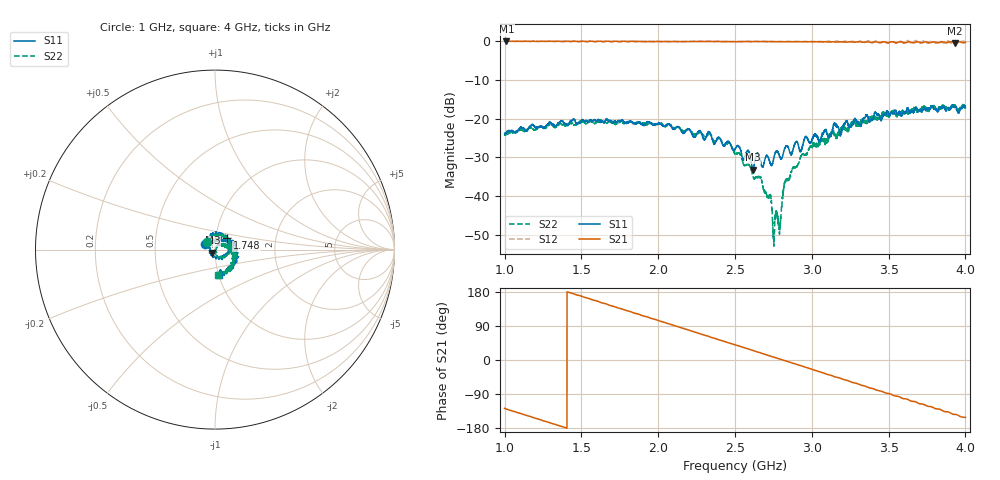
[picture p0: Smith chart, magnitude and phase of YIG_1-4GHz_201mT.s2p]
#  HZ  S  RI  R  50.0
! Rohde & Schwarz ZVL13 2Ports - Version 3.31 - 1303.6509k13 SN: 101088
! Date: 2023-03-06 14:46:26
! Data & Calibration Information:
! Trc4:S11(TOSM) Trc2:S21(TOSM) Trc3:S12(TOSM) Trc5:S22(TOSM)
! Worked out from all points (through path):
!   4000 points, 1 GHz to 4 GHz, reference 50 ohm
!   highest |S21| = -0.04 dB at 1.012 GHz (marker M1); lowest = -0.5 dB at 3.93 GHz (marker M2)
!   group delay of S21, straight-line fit = 357 ps
!   lowest |S11| = -33.1 dB at 2.616 GHz (marker M3), VSWR 1.05, Z = 48.5 - j1.61 ohm
!   |S11| at or under -10 dB: start of sweep to end of sweep
!   |S22| runs from -52.8 to -16.4 dB; largest |S21 - S12| = 0.072
!   S11 on the Smith chart (normalised r, x): 1 GHz: 0.89, +0.06; 1.748 GHz: 1.14, +0.15; 4 GHz: 1.01, -0.28
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1e9  -0.0549 0.0334  -0.6081 -0.785  -0.6149 -0.7835  -0.0464 0.0397
1.012003e9  -0.0533 0.0379  -0.6326 -0.768  -0.6258 -0.7636  -0.0473 0.0416
1.255064e9  -0.0276 0.0691  -0.9332 -0.3257  -0.9412 -0.3337  -0.0163 0.075
1.500375e9  0.0196 0.0922  -0.9688 0.1998  -0.9743 0.1939  0.0388 0.085
1.747937e9  0.0694 0.0642  -0.7072 0.6738  -0.7156 0.6756  0.0759 0.048
2e9  0.0855 0.0052  -0.2419 0.9552  -0.2379 0.9557  0.0862 -0.00299
2.23931e9  0.0459 -0.0344  0.2779 0.9434  0.2847 0.9467  0.0505 -0.0374
2.331583e9  0.0403 -0.0539  0.4671 0.8675  0.4717 0.8667  0.0451 -0.0454
2.500375e9  -0.0103 -0.0393  0.7483 0.6319  0.749 0.6282  0.0103 -0.0337
2.585896e9  -0.0205 -0.0336  0.8567 0.4797  0.8637 0.48  0.00673 -0.025
2.615904e9  -0.0145 -0.0166  0.8892 0.419  0.8882 0.4196  0.00292 -0.0183
2.645911e9  -0.0301 -0.0193  0.9147 0.3584  0.9198 0.3552  0.0061 -0.0166
2.723931e9  -0.0277 -0.00823  0.9628 0.1907  0.9653 0.1922  -0.0025 -0.00984
2.75844e9  -0.0324 0.0115  0.9723 0.114  0.9716 0.1126  0.00461 0.000823
2.792198e9  -0.0297 0.0114  0.9778 0.0419  0.9838 0.041  0.00152 0.00335
2.830458e9  -0.0311 0.0304  0.9764 -0.0414  0.9806 -0.0368  0.0112 0.0121
3e9  0.00688 0.0524  0.8906 -0.4025  0.9004 -0.4046  0.0296 0.033
3.268567e9  0.0741 0.0436  0.4882 -0.8351  0.4979 -0.8533  0.0876 0.0151
3.500375e9  0.1137 -0.0043  0.0287 -0.95  0.0227 -0.9415  0.0978 -0.0352
3.673668e9  0.1216 -0.0627  -0.3274 -0.9015  -0.3527 -0.9457  0.0952 -0.094
3.930233e9  0.0597 -0.126  -0.7603 -0.5583  -0.8079 -0.5911  0.0432 -0.1429
4e9  0.0239 -0.1366  -0.8492 -0.4562  -0.8659 -0.4095  0.0152 -0.1326
